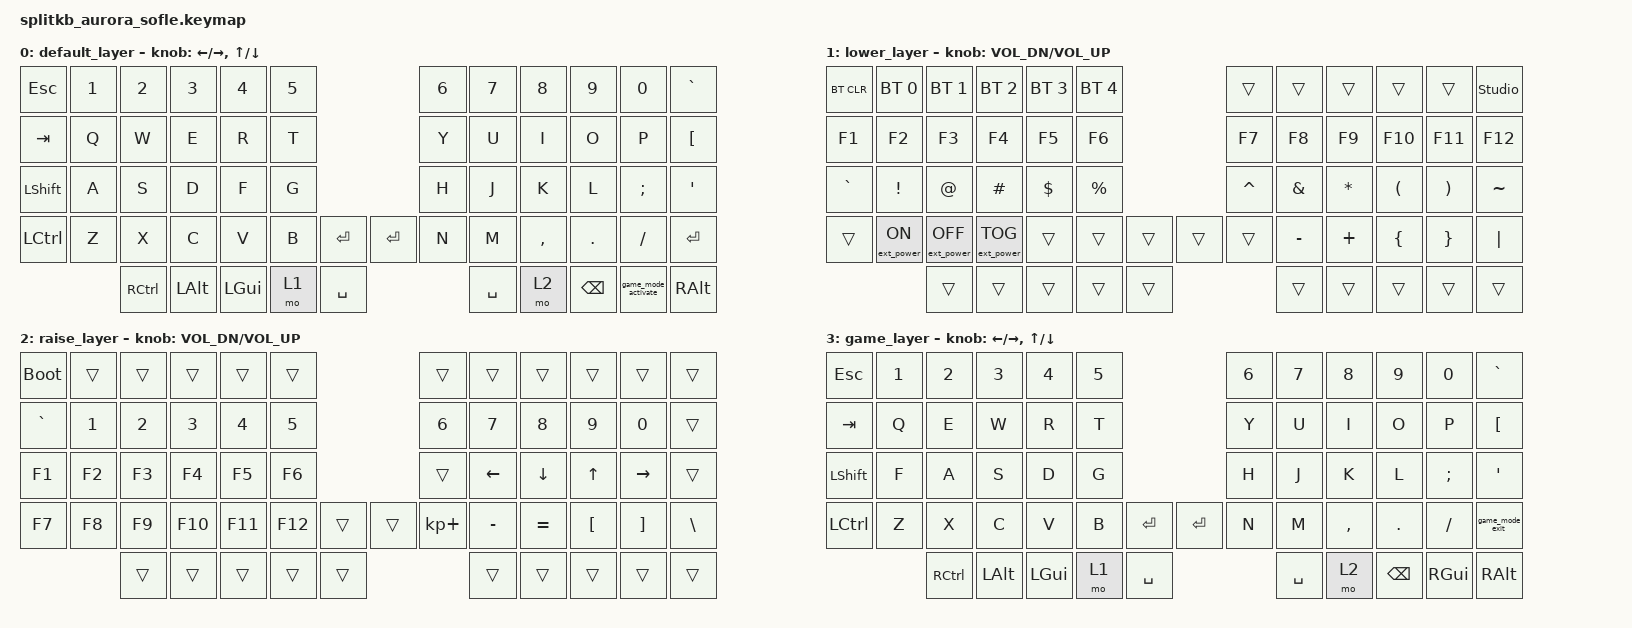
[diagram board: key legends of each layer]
/*
 * Copyright (c) 2023 The ZMK Contributors
 *
 * SPDX-License-Identifier: MIT
 */

#include <behaviors.dtsi>
#include <dt-bindings/zmk/keys.h>
#include <dt-bindings/zmk/bt.h>
#include <dt-bindings/zmk/ext_power.h>
#include <dt-bindings/zmk/rgb.h>

&led_strip {
    // chain-length = <6>;
    // chain-length = <35>; // Uncomment if using both per-key and underglow LEDs
    chain-length = <29>; // Uncomment if using only per-key LEDs.
};


/ {
    macros {
        game_mode_activate: game_mode_activate {
            compatible = "zmk,behavior-macro";
            #binding-cells = <0>;
            bindings
                = <&macro_tap &to 3 &rgb_ug RGB_COLOR_HSB(50,100,10)>
                ;
        };
        game_mode_exit: game_mode_exit{
            compatible = "zmk,behavior-macro";
            #binding-cells = <0>;
            bindings
                = <&macro_tap &to 0 &rgb_ug RGB_COLOR_HSB(10,100,10)>
                ;
        };
    };
};


/ {
    keymap {
        compatible = "zmk,keymap";

        default_layer {
// ------------------------------------------------------------------------------------------------------------
// |  ESC  |  1  |  2  |  3   |  4   |  5   |                   |  6   |  7    |  8    |  9   |   0   |   `   |
// |  TAB  |  Q  |  W  |  E   |  R   |  T   |                   |  Y   |  U    |  I    |  O   |   P   |   -   |
// |  SHIFT|  A  |  S  |  D   |  F   |  G   |                   |  H   |  J    |  K    |  L   |   ;   |   '   |
// | CRTL|  Z  |  X  |  C   |  V   |  B   |   "["  |  |  "]"  |  N   |  M    |  ,    |  .   |   /   | return|
//               |CTRL | ALT  | GUI  | LOWER|  SPACE |  | ENTER | RAISE| BSPC  | GUI   | RALT |
            bindings = <
&kp ESC   &kp N1 &kp N2    &kp N3   &kp N4   &kp N5                     &kp N6 &kp N7   &kp N8    &kp N9   &kp N0   &kp GRAVE
&kp TAB   &kp Q  &kp W     &kp E    &kp R    &kp T                      &kp Y  &kp U    &kp I     &kp O    &kp P    &kp LBKT
&kp LSHFT &kp A  &kp S     &kp D    &kp F    &kp G                      &kp H  &kp J    &kp K     &kp L    &kp SEMI &kp SQT
&kp LCTRL &kp Z  &kp X     &kp C    &kp V    &kp B  &kp RET   &kp RET &kp N  &kp M    &kp COMMA &kp DOT  &kp FSLH &kp RET
                 &kp RCTRL &kp LALT &kp LGUI &mo 1  &kp SPACE  &kp SPACE  &mo 2  &kp BSPC &game_mode_activate &kp RALT
            >;

            sensor-bindings = <&inc_dec_kp LEFT RIGHT &inc_dec_kp UP DOWN>;
        };

        lower_layer {
// ------------------------------------------------------------------------------------------------------------
// | BTCLR | BT1 | BT2 |  BT3 |  BT4 |  BT5 |                   |      |       |       |      |       |       |
// |  F1   |  F2 |  F3 |  F4  |  F5  |  F6  |                   |  F7  |  F8   |  F9   |  F10 |  F11  |  F12  |
// |   `   |  !  |  @  |  #   |  $   |  %   |                   |  ^   |  &    |  *    |  (   |   )   |   ~   |
// |       |     |     |      |      |      |        |  |       |      |  _    |  +    |  {   |   }   |  "|"  |
//               |     |      |      |      |        |  |       |      |       |       |      |
            bindings = <
&bt BT_CLR &bt BT_SEL 0     &bt BT_SEL 1      &bt BT_SEL 2      &bt BT_SEL 3 &bt BT_SEL 4                 &trans    &trans    &trans    &trans    &trans    &studio_unlock
&kp F1     &kp F2           &kp F3            &kp F4            &kp F5       &kp F6                       &kp F7    &kp F8    &kp F9    &kp F10   &kp F11   &kp F12
&kp GRAVE  &kp EXCL         &kp AT            &kp HASH          &kp DOLLAR   &kp PRCNT                    &kp CARET &kp AMPS  &kp STAR  &kp LPAR  &kp RPAR  &kp TILDE
&trans     &ext_power EP_ON &ext_power EP_OFF &ext_power EP_TOG &trans       &trans    &trans   &trans    &trans    &kp MINUS &kp PLUS  &kp LBRC  &kp RBRC  &kp PIPE
                            &trans            &trans            &trans       &trans    &trans   &trans    &trans    &trans    &trans    &trans
            >;

            sensor-bindings = <&inc_dec_kp C_VOL_DN C_VOL_UP>;
        };

        raise_layer {
// ------------------------------------------------------------------------------------------------------------
// |       |     |     |      |      |      |                   |      |       |       |      |       |       |
// |   `   |  1  |  2  |  3   |  4   |  5   |                   |  6   |   7   |   8   |  9   |   0   |       |
// |   F1  |  F2 |  F3 |  F4  |  F5  |  F6  |                   |      |   <-  |   v   |  ^   |  ->   |       |
// |   F7  |  F8 |  F9 |  F10 |  F11 |  F12 |        |  |       |  +   |   -   |   =   |  [   |   ]   |   \   |
//               |     |      |      |      |        |  |       |      |       |       |      |
            bindings = <
&bootloader &trans &trans &trans  &trans  &trans                       &trans      &trans    &trans    &trans   &trans    &trans
&kp GRAVE &kp N1 &kp N2 &kp N3  &kp N4  &kp N5                       &kp N6      &kp N7    &kp N8    &kp N9   &kp N0    &trans
&kp F1    &kp F2 &kp F3 &kp F4  &kp F5  &kp F6                       &trans      &kp LEFT  &kp DOWN  &kp UP   &kp RIGHT &trans
&kp F7    &kp F8 &kp F9 &kp F10 &kp F11 &kp F12   &trans   &trans    &kp KP_PLUS &kp MINUS &kp EQUAL &kp LBKT &kp RBKT  &kp BSLH
                 &trans &trans  &trans  &trans    &trans   &trans    &trans      &trans    &trans    &trans
            >;

            sensor-bindings = <&inc_dec_kp C_VOL_DN C_VOL_UP>;
        };

        game_layer {
            bindings = <
&kp ESC   &kp N1 &kp N2    &kp N3   &kp N4   &kp N5                     &kp N6 &kp N7   &kp N8    &kp N9   &kp N0   &kp GRAVE
&kp TAB   &kp Q  &kp E     &kp W    &kp R    &kp T                      &kp Y  &kp U    &kp I     &kp O    &kp P    &kp LBKT
&kp LSHFT &kp F  &kp A     &kp S    &kp D    &kp G                      &kp H  &kp J    &kp K     &kp L    &kp SEMI &kp SQT
&kp LCTRL &kp Z  &kp X     &kp C    &kp V    &kp B  &kp RET   &kp RET &kp N  &kp M    &kp COMMA &kp DOT  &kp FSLH &game_mode_exit
                 &kp RCTRL &kp LALT &kp LGUI &mo 1  &kp SPACE  &kp SPACE  &mo 2  &kp BSPC &kp RGUI  &kp RALT
            >;

            sensor-bindings = <&inc_dec_kp LEFT RIGHT &inc_dec_kp UP DOWN>;
        };
    };
};
